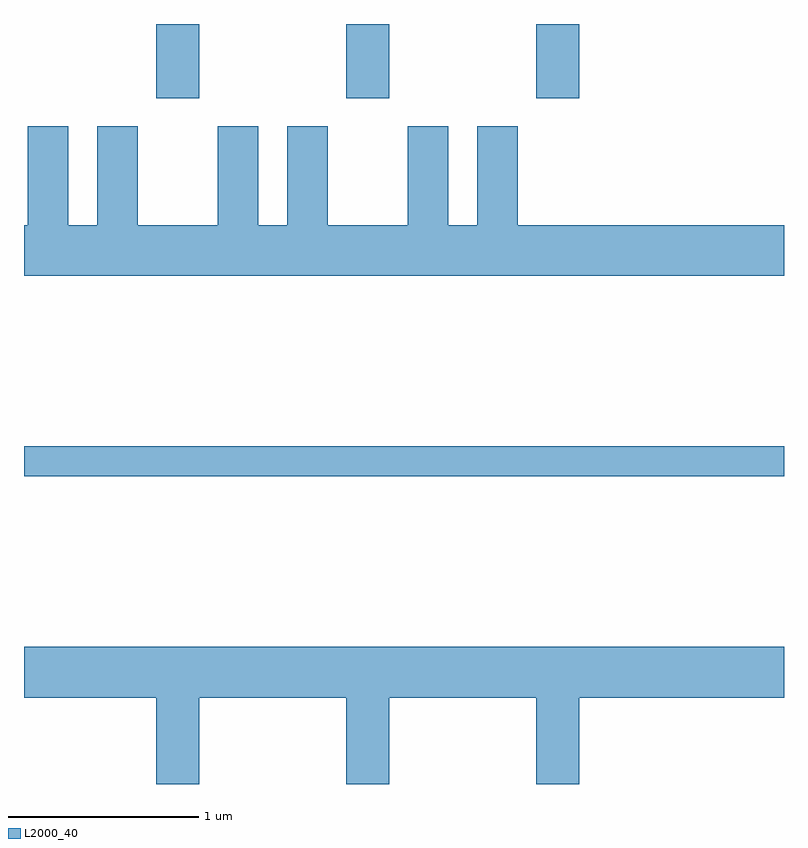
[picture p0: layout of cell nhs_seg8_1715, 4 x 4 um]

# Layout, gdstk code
import gdstk
lib = gdstk.Library(unit=1e-6, precision=1e-09)
def R(c, l, rs):  # rectangles x0, y0, x1, y1
    for r in rs: c.add(gdstk.rectangle(r[:2], r[2:], *l))
def A(c, l, x, y, w, h, nx, ny, dx, dy):  # array of equal rectangles
    R(c, l, [(x+i*dx, y+j*dy, x+i*dx+w, y+j*dy+h) for i in range(nx) for j in range(ny)])
def P(c, l, *ps):  # polygons
    for p in ps: c.add(gdstk.Polygon(p, *l))
L2000_40 = (2000, 40)

nhs_seg8_1715 = lib.new_cell('nhs_seg8_1715')
A(nhs_seg8_1715, L2000_40, 236.306, 1903.951, 0.228, 0.391, 3, 1, 1, 0)
R(nhs_seg8_1715, L2000_40, [(235.611,1901.961,239.611,1902.119)])
P(nhs_seg8_1715, L2000_40, [(235.996,1903.804),(235.996,1903.284),(235.844,1903.284),(235.844,1903.804),(235.631,1903.804),(235.631,1903.284),(235.611,1903.284),(235.611,1903.016),(239.611,1903.016),(239.611,1903.284),(238.209,1903.284),(238.209,1903.804),(237.996,1903.804),(237.996,1903.284),(237.844,1903.284),(237.844,1903.804),(237.631,1903.804),(237.631,1903.284),(237.209,1903.284),(237.209,1903.804),(236.996,1903.804),(236.996,1903.284),(236.844,1903.284),(236.844,1903.804),(236.631,1903.804),(236.631,1903.284),(236.209,1903.284),(236.209,1903.804)],
  [(236.534,1900.796),(237.306,1900.796),(237.306,1900.342),(237.534,1900.342),(237.534,1900.796),(238.306,1900.796),(238.306,1900.342),(238.534,1900.342),(238.534,1900.796),(239.611,1900.796),(239.611,1901.064),(235.611,1901.064),(235.611,1900.796),(236.306,1900.796),(236.306,1900.342),(236.534,1900.342)])

lib.write_gds('nhs_seg8_1715.gds')
